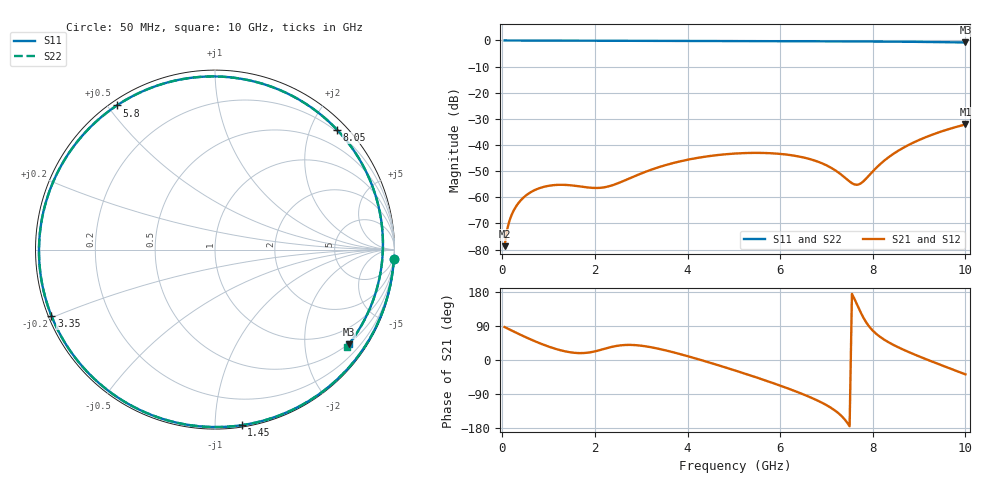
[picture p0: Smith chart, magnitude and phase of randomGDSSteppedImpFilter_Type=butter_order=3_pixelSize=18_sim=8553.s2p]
! freq	dB(S11)	phase(S11)	dB(S12)	phase(S12)
!  dB(S21)	phase(S21)	dB(S22)	phase(S22)
!S-par simulation data
#  GHz  S  DB  R 50
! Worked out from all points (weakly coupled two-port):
!   200 points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, 50 MHz to 10 GHz, reference 50 ohm
!   highest |S21| = -32.14 dB at 10 GHz (marker M1); lowest = -78.7 dB at 50 MHz (marker M2)
!   lowest |S11| = -0.8 dB at 10 GHz (marker M3), VSWR 21.97, Z = 24.3 - j154 ohm
!   |S11| at or under -10 dB: nowhere
!   |S22| runs from -0.8 to 0.0 dB; largest |S21 - S12| = 0
!   S11 on the Smith chart (normalised r, x): 50 MHz: 1, -39; 1.45 GHz: 0.01, -1.16; 3.35 GHz: 0.01, -0.20; 5.8 GHz: 0.02, +0.53; 8.05 GHz: 0.17, +2.44; 10 GHz: 0.49, -3.08
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0.05  -0.01 -2.9  -78.71 87.0  -78.71 87.0  -0.01 -2.9
0.1  -0.02 -5.9  -72.71 83.9  -72.71 83.9  -0.02 -5.9
0.2  -0.03 -12.0  -66.79 77.9  -66.79 77.9  -0.03 -12.0
0.45  -0.04 -26.9  -60.25 63.3  -60.25 63.3  -0.04 -26.9
0.9  -0.06 -52.7  -55.99 39.9  -55.99 39.9  -0.06 -52.7
1.45  -0.09 -81.4  -55.38 20.7  -55.38 20.7  -0.09 -81.4
1.75  -0.10 -95.6  -56.03 18.3  -56.03 18.3  -0.10 -95.6
2.15  -0.12 -113.1  -56.33 27.6  -56.33 27.6  -0.12 -113.1
2.55  -0.13 -129.1  -54.27 38.6  -54.27 38.6  -0.13 -129.2
3.35  -0.15 -157.9  -48.65 30.3  -48.65 30.3  -0.15 -158.0
3.4  -0.15 -159.6  -48.37 29.0  -48.37 29.0  -0.15 -159.7
4.2  -0.18 174.5  -44.98 3.2  -44.98 3.2  -0.18 174.3
5.05  -0.21 147.9  -43.25 -28.6  -43.25 -28.6  -0.21 147.7
5.8  -0.25 124.2  -43.16 -59.0  -43.16 -59.0  -0.25 123.9
6.7  -0.30 94.2  -45.70 -101.0  -45.70 -101.0  -0.31 93.8
7.1  -0.33 80.1  -48.71 -126.4  -48.71 -126.4  -0.33 79.6
7.65  -0.38 59.8  -55.23 149.2  -55.23 149.2  -0.38 59.2
7.8  -0.39 54.1  -53.87 111.1  -53.87 111.1  -0.39 53.4
8.05  -0.42 44.4  -49.19 71.7  -49.19 71.7  -0.42 43.7
8.35  -0.45 32.6  -44.58 46.2  -44.58 46.2  -0.45 31.8
9.15  -0.58 0.0  -36.98 2.1  -36.98 2.1  -0.58 -1.0
10  -0.79 -35.2  -32.14 -37.9  -32.14 -37.9  -0.80 -36.4
